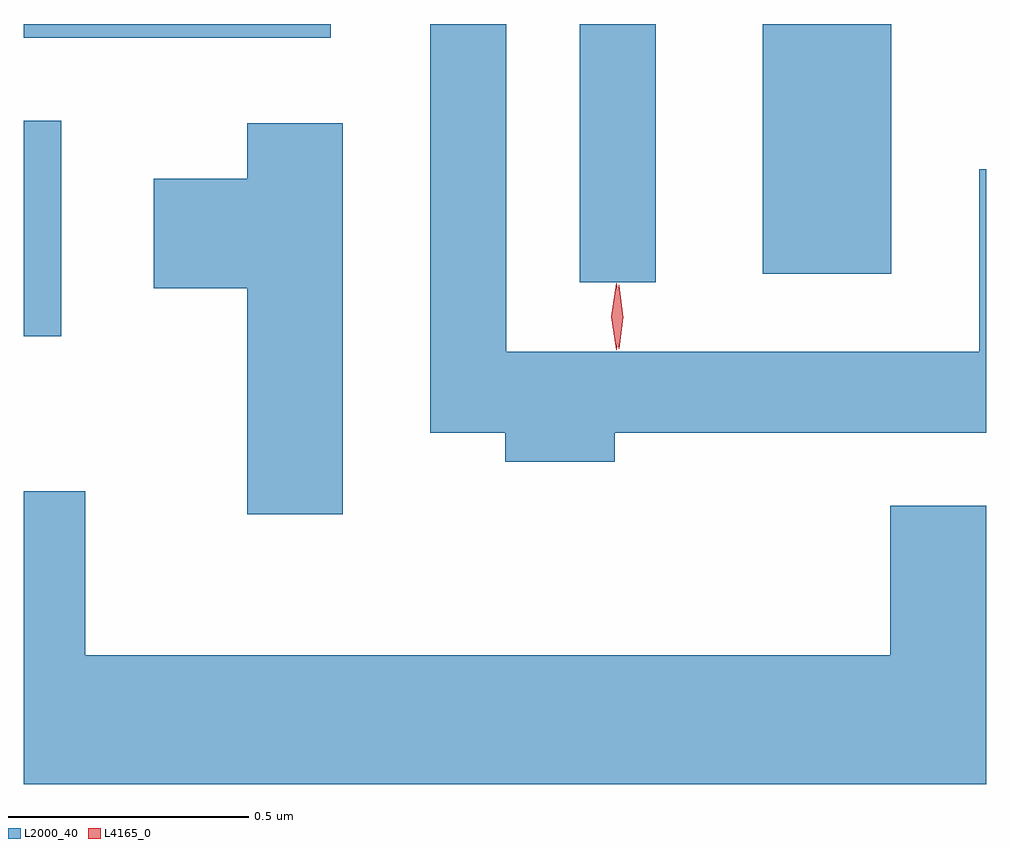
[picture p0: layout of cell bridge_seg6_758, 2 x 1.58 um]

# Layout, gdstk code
import gdstk
lib = gdstk.Library(unit=1e-6, precision=1e-09)
def R(c, l, rs):  # rectangles x0, y0, x1, y1
    for r in rs: c.add(gdstk.rectangle(r[:2], r[2:], *l))
def P(c, l, *ps):  # polygons
    for p in ps: c.add(gdstk.Polygon(p, *l))
L2000_40 = (2000, 40)
L4165_0 = (4165, 0)

bridge_seg6_758 = lib.new_cell('bridge_seg6_758')
R(bridge_seg6_758, L2000_40, [(545.981,1597.586,546.059,1598.034), (547.136,1597.698,547.294,1598.235), (547.516,1597.716,547.784,1598.235), (545.981,1598.206,546.619,1598.235)])
P(bridge_seg6_758, L2000_40, [(547.209,1597.386),(547.981,1597.386),(547.981,1597.933),(547.966,1597.933),(547.966,1597.554),(546.984,1597.554),(546.984,1598.235),(546.826,1598.235),(546.826,1597.386),(546.981,1597.386),(546.981,1597.326),(547.209,1597.326)],
  [(546.644,1598.029),(546.446,1598.029),(546.446,1597.914),(546.251,1597.914),(546.251,1597.686),(546.446,1597.686),(546.446,1597.216),(546.644,1597.216)],
  [(547.981,1597.234),(547.781,1597.234),(547.781,1596.924),(546.109,1596.924),(546.109,1597.264),(545.981,1597.264),(545.981,1596.656),(547.981,1596.656)])
P(bridge_seg6_758, L4165_0, [(547.217,1597.56),(547.217,1597.56),(547.207,1597.626),(547.217,1597.692),(547.217,1597.693),(547.218,1597.692),(547.227,1597.626),(547.218,1597.56)],
  [(547.212,1597.557),(547.212,1597.558),(547.202,1597.627),(547.212,1597.696),(547.212,1597.696),(547.213,1597.696),(547.222,1597.627),(547.213,1597.558)])

lib.write_gds('bridge_seg6_758.gds')
